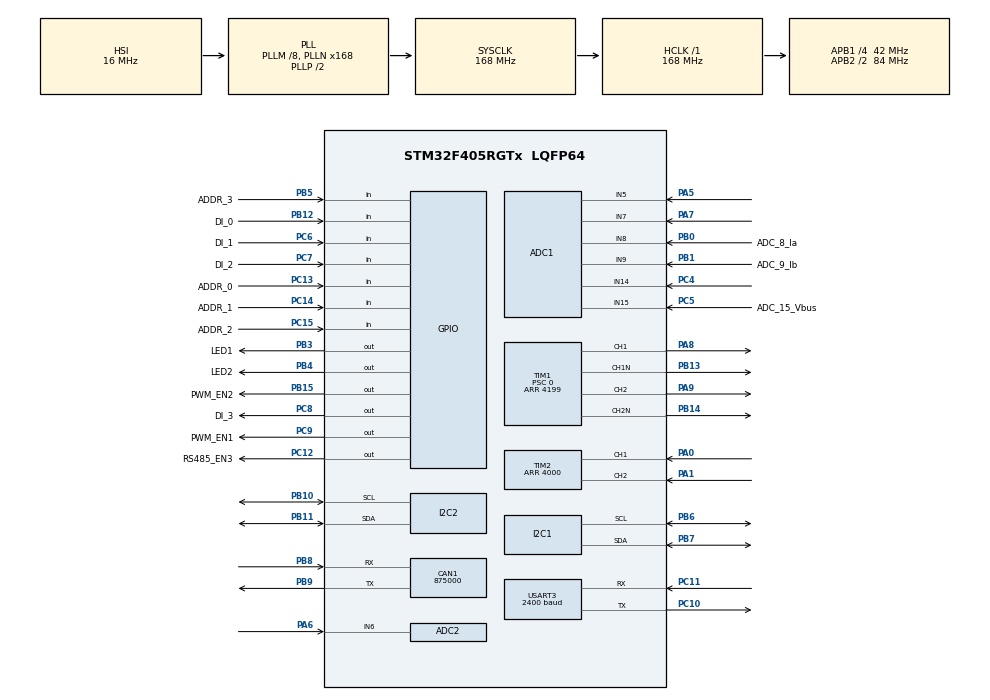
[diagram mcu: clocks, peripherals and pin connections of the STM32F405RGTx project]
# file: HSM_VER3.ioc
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ADC1.Channel-0\#ChannelRegularConversion=ADC_CHANNEL_9
ADC1.Channel-2\#ChannelRegularConversion=ADC_CHANNEL_8
ADC1.ClockPrescaler=ADC_CLOCK_SYNC_PCLK_DIV4
ADC1.ContinuousConvMode=DISABLE
ADC1.EOCSelection=ADC_EOC_SEQ_CONV
ADC1.NbrOfConversion=2
ADC1.NbrOfConversionFlag=1
ADC1.Rank-0\#ChannelRegularConversion=1
ADC1.Rank-2\#ChannelRegularConversion=2
ADC1.SamplingTime-0\#ChannelRegularConversion=ADC_SAMPLETIME_3CYCLES
ADC1.SamplingTime-2\#ChannelRegularConversion=ADC_SAMPLETIME_3CYCLES
ADC1.ScanConvMode=ENABLE
ADC1.master=1
ADC2.Channel-0\#ChannelRegularConversion=ADC_CHANNEL_6
ADC2.ClockPrescaler=ADC_CLOCK_SYNC_PCLK_DIV4
ADC2.NbrOfConversionFlag=1
ADC2.Rank-0\#ChannelRegularConversion=1
ADC2.SamplingTime-0\#ChannelRegularConversion=ADC_SAMPLETIME_3CYCLES
CAN1.CalculateBaudRate=875000
CAN1.CalculateTimeBit=1142
CAN1.CalculateTimeQuantum=380.95238095238096
Dma.ADC1.0.Direction=DMA_PERIPH_TO_MEMORY
Dma.ADC1.0.FIFOMode=DMA_FIFOMODE_DISABLE
Dma.ADC1.0.Instance=DMA2_Stream0
Dma.ADC1.0.MemDataAlignment=DMA_MDATAALIGN_HALFWORD
Dma.ADC1.0.MemInc=DMA_MINC_ENABLE
Dma.ADC1.0.Mode=DMA_NORMAL
Dma.ADC1.0.PeriphDataAlignment=DMA_PDATAALIGN_HALFWORD
Dma.ADC1.0.PeriphInc=DMA_PINC_DISABLE
Dma.ADC1.0.Priority=DMA_PRIORITY_VERY_HIGH
Dma.Request0=ADC1
Mcu.Family=STM32F4
Mcu.Name=STM32F405RGTx
Mcu.Package=LQFP64
NVIC.DMA2_Stream0_IRQn=true\:0\:0\:false\:false\:true\:false\:true\:true
NVIC.PriorityGroup=NVIC_PRIORITYGROUP_4
NVIC.TIM1_UP_TIM10_IRQn=true\:0\:0\:true\:false\:true\:true\:true\:true
PA0-WKUP.Signal=S_TIM2_CH1_ETR
PA1.Signal=S_TIM2_CH2
PA13.Mode=Serial_Wire
PA13.Signal=SYS_JTMS-SWDIO
PA14.Mode=Serial_Wire
PA14.Signal=SYS_JTCK-SWCLK
PA5.Signal=ADCx_IN5
PA6.Signal=ADCx_IN6
PA7.Signal=ADCx_IN7
PA8.Signal=S_TIM1_CH1
PA9.Signal=S_TIM1_CH2
PB0.GPIO_Label=ADC_8_Ia
PB0.Signal=ADCx_IN8
PB1.GPIO_Label=ADC_9_Ib
PB1.Signal=ADCx_IN9
PB10.Mode=I2C
PB10.Signal=I2C2_SCL
PB11.Mode=I2C
PB11.Signal=I2C2_SDA
PB12.GPIO_Label=DI_0
PB12.GPIO_PuPd=GPIO_NOPULL
PB12.Signal=GPIO_Input
PB13.Mode=PWM Generation1 CH1 CH1N
PB13.Signal=TIM1_CH1N
PB14.Mode=PWM Generation2 CH2 CH2N
PB14.Signal=TIM1_CH2N
PB15.GPIO_Label=PWM_EN2
PB15.Signal=GPIO_Output
PB3.GPIO_Label=LED1
PB3.Signal=GPIO_Output
PB4.GPIO_Label=LED2
PB4.Signal=GPIO_Output
PB5.GPIO_Label=ADDR_3
PB5.Signal=GPIO_Input
PB6.Mode=I2C
PB6.Signal=I2C1_SCL
PB7.Mode=I2C
PB7.Signal=I2C1_SDA
PB8.Mode=CAN_Activate
PB8.Signal=CAN1_RX
PB9.Mode=CAN_Activate
PB9.Signal=CAN1_TX
PC10.Mode=Asynchronous
PC10.Signal=USART3_TX
PC11.Mode=Asynchronous
PC11.Signal=USART3_RX
PC12.GPIO_Label=RS485_EN3
PC12.Signal=GPIO_Output
PC13-ANTI_TAMP.GPIO_Label=ADDR_0
PC13-ANTI_TAMP.GPIO_PuPd=GPIO_PULLUP
PC13-ANTI_TAMP.Signal=GPIO_Input
PC14-OSC32_IN.GPIO_Label=ADDR_1
PC14-OSC32_IN.GPIO_PuPd=GPIO_PULLUP
PC14-OSC32_IN.Signal=GPIO_Input
PC15-OSC32_OUT.GPIO_Label=ADDR_2
PC15-OSC32_OUT.Signal=GPIO_Input
PC4.Signal=ADCx_IN14
PC5.GPIO_Label=ADC_15_Vbus
PC5.Signal=ADCx_IN15
PC6.GPIO_Label=DI_1
PC6.GPIO_PuPd=GPIO_NOPULL
PC6.Signal=GPIO_Input
PC7.GPIO_Label=DI_2
PC7.Signal=GPIO_Input
PC8.GPIO_Label=DI_3
PC8.Signal=GPIO_Output
PC9.GPIO_Label=PWM_EN1
PC9.Signal=GPIO_Output
PH0-OSC_IN.Mode=HSE-External-Oscillator
PH0-OSC_IN.Signal=RCC_OSC_IN
PH1-OSC_OUT.Mode=HSE-External-Oscillator
PH1-OSC_OUT.Signal=RCC_OSC_OUT
ProjectManager.HeapSize=0x200
ProjectManager.StackSize=0x400
ProjectManager.TargetToolchain=MDK-ARM V5.32
RCC.48MHZClocksFreq_Value=84000000
RCC.AHBFreq_Value=168000000
RCC.APB1CLKDivider=RCC_HCLK_DIV4
RCC.APB1Freq_Value=42000000
RCC.APB1TimFreq_Value=84000000
RCC.APB2CLKDivider=RCC_HCLK_DIV2
RCC.APB2Freq_Value=84000000
RCC.APB2TimFreq_Value=168000000
RCC.CortexFreq_Value=168000000
RCC.HCLKFreq_Value=168000000
RCC.HSE_VALUE=25000000
RCC.HSI_VALUE=16000000
RCC.LSE_VALUE=32768
RCC.PLLM=8
RCC.PLLN=168
RCC.SYSCLKFreq_VALUE=168000000
RCC.SYSCLKSource=RCC_SYSCLKSOURCE_PLLCLK
RCC.VCOOutputFreq_Value=336000000
SH.ADCx_IN14.0=ADC1_IN14,IN14
SH.ADCx_IN15.0=ADC1_IN15,IN15
SH.ADCx_IN5.0=ADC1_IN5,IN5
SH.ADCx_IN6.0=ADC2_IN6,IN6
SH.ADCx_IN7.0=ADC1_IN7,IN7
SH.ADCx_IN8.0=ADC1_IN8,IN8
SH.ADCx_IN9.0=ADC1_IN9,IN9
SH.S_TIM1_CH1.0=TIM1_CH1,PWM Generation1 CH1 CH1N
SH.S_TIM1_CH2.0=TIM1_CH2,PWM Generation2 CH2 CH2N
SH.S_TIM2_CH1_ETR.0=TIM2_CH1,Encoder_Interface
SH.S_TIM2_CH2.0=TIM2_CH2,Encoder_Interface
TIM1.AutoReloadPreload=TIM_AUTORELOAD_PRELOAD_ENABLE
TIM1.Channel-PWM\ Generation1\ CH1\ CH1N=TIM_CHANNEL_1
TIM1.Channel-PWM\ Generation2\ CH2\ CH2N=TIM_CHANNEL_2
TIM1.CounterMode=TIM_COUNTERMODE_CENTERALIGNED1
TIM1.OCNIdleState_1=TIM_OCNIDLESTATE_SET
TIM1.OCNIdleState_2=TIM_OCNIDLESTATE_SET
TIM1.Period=4199
TIM1.Prescaler=0
TIM1.Pulse-PWM\ Generation1\ CH1\ CH1N=0
TIM1.Pulse-PWM\ Generation2\ CH2\ CH2N=0
TIM1.RepetitionCounter=0
TIM2.EncoderMode=TIM_ENCODERMODE_TI12
TIM2.IC1Filter=10
TIM2.IC2Filter=10
TIM2.Period=4000
TIM3.Prescaler=83 
TIM5.Prescaler=83
USART3.BaudRate=2400
USART3.VirtualMode=VM_ASYNC
VP_TIM1_VS_ClockSourceINT.Mode=Internal
VP_TIM3_VS_ClockSourceINT.Mode=Internal
VP_TIM5_VS_ClockSourceINT.Mode=Internal
board=custom

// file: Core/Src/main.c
/* USER CODE BEGIN Header */
/**
  ******************************************************************************
  * @file           : main.c
  * @brief          : Main program body
  ******************************************************************************
  * @attention
  *
  * Copyright (c) 2023 STMicroelectronics.
  * All rights reserved.
  *
  * This software is licensed under terms that can be found in the LICENSE file
  * in the root directory of this software component.
  * If no LICENSE file comes with this software, it is provided AS-IS.
  *
  ******************************************************************************
  */
/* USER CODE END Header */
#include "main.h"

ADC_HandleTypeDef hadc1;
ADC_HandleTypeDef hadc2;
DMA_HandleTypeDef hdma_adc1;

CAN_HandleTypeDef hcan1;

I2C_HandleTypeDef hi2c1;
I2C_HandleTypeDef hi2c2;

TIM_HandleTypeDef htim1;
TIM_HandleTypeDef htim2;
TIM_HandleTypeDef htim3;
TIM_HandleTypeDef htim5;

UART_HandleTypeDef huart3;

void SystemClock_Config(void);
static void MX_GPIO_Init(void);
static void MX_DMA_Init(void);
static void MX_ADC1_Init(void);
static void MX_ADC2_Init(void);
static void MX_CAN1_Init(void);
static void MX_I2C1_Init(void);
static void MX_I2C2_Init(void);
static void MX_TIM1_Init(void);
static void MX_TIM2_Init(void);
static void MX_USART3_UART_Init(void);
static void MX_TIM3_Init(void);
static void MX_TIM5_Init(void);

/* USER CODE BEGIN 0 */
		/*Initiate Variables*/
		HSM hsm_var; 							// hybrid stepper motor variable
		StateMachine mState_var;		// state of machine

		ENCODER_OBJECT encoder_var, theta_var;
		PI_OBJECT PI_Id_var, PI_Iq_var, PI_speed_var, P_position_var;
		ADC_OBJECT adc_var;

		FLAG flag_var;
		CONTROL_OBJECT control_var;
		SVPWM svpwm_var;
		LPF LPF_speed_var, LPF_current_var, LPF_voltage_var;
		UART uart_var;
		RAMP ramp_rpm_var;

		double ts_rpm = 20e-3;

		/*HAM NGAT TIMER********************************************/
		void HAL_TIM_PeriodElapsedCallback(TIM_HandleTypeDef *htim){
			/* Prevent unused argument(s) compilation warning */
			UNUSED(htim);
			/*USER CODE*/

				if (htim->Instance == htim1.Instance)		// interrupt every 25us
				{
					/*------------------------------------------------------------------------*/
					flag_var.flag_25us_50us++;
					if(flag_var.flag_25us_50us >1)
					{			// every 50us
						flag_var.flag_25us_50us = 0;
						CAL_CURRENT(&adc_var);
						STATE_MACHINE_HANDLE();
					}
					/*------------------------------------------------------------------------*/
					if(mState_var.mSTATE == mRUN && mState_var.mCONTROL_MODE == CLOSE_LOOP_SPD)
					{
						flag_var.flag_25us_20ms++;
						if(flag_var.flag_25us_20ms > 799) // every 20ms
						{
							flag_var.flag_25us_20ms = 0;
							CAL_SPEED(&encoder_var);
							SPEED_LOOP(&control_var, &PI_speed_var, 120);
							//SAVE_DATA(GET_S_DATA);
						}
					}

					flag_var.flag_25us++;
					if(flag_var.flag_25us >= 40){			// every
						flag_var.flag_25us = 0;
						//SAVE_DATA(GET_C_DATA);
						//SAVE_DATA(GET_S_DATA);
					}
				}
		}

/* USER CODE END 0 */

int main(void)
{

  /* MCU Configuration--------------------------------------------------------*/

  /* Reset of all peripherals, Initializes the Flash interface and the Systick. */
  HAL_Init();

  /* Configure the system clock */
  SystemClock_Config();

  /* Initialize all configured peripherals */
  MX_GPIO_Init();
  MX_DMA_Init();
  MX_ADC1_Init();
  MX_ADC2_Init();
  MX_CAN1_Init();
  MX_I2C1_Init();
  MX_I2C2_Init();
  MX_TIM1_Init();
  MX_TIM2_Init();
  MX_USART3_UART_Init();
  MX_TIM3_Init();
  MX_TIM5_Init();
  /* USER CODE BEGIN 2 */
			HAL_GPIO_WritePin(LED1_GPIO_Port, LED1_Pin, GPIO_PIN_SET);		// 	disable led 1
			HAL_GPIO_WritePin(LED2_GPIO_Port, LED2_Pin, GPIO_PIN_SET);		//  disable led 2
			Motor_Disable();
		// BAT CHE DO PHAT XUNG PWM 2 KENH
			HAL_TIM_PWM_Start(&htim1, TIM_CHANNEL_1);
			HAL_TIMEx_PWMN_Start(&htim1, TIM_CHANNEL_1);
			HAL_TIM_PWM_Start(&htim1, TIM_CHANNEL_2);
			HAL_TIMEx_PWMN_Start(&htim1, TIM_CHANNEL_2);
		// START ADC
			HAL_ADC_Start(&hadc1);

		// CONFIG TIMER
			HAL_TIM_Base_Start_IT(&htim1); 			// PWM & control loop
			HAL_TIM_Base_Start_IT(&htim2); 			// Encoder
			HAL_TIM_Base_Start(&htim3); 		 		//	counter timer - delay timer (not used yet)
			HAL_TIM_Base_Start(&htim5); 		 		//	counter timer - delay timer (not used yet)
			HAL_TIM_Encoder_Start(&htim2, TIM_CHANNEL_ALL);			// Encoder on htim 2
		// INIT FUNCTIONS
			MOTOR_Init(&hsm_var);

			FLAG_Init(&flag_var);
			ADC_Init(&adc_var);
			ENCODER_Init(&encoder_var, 1000, 4, ts_rpm);			// use for cal the speed
			ENCODER_Init(&theta_var, 1000, 4, NULL);		// use for count the received pulse, then cal the theta mechanical (rad)

			CONTROLLER_Init(&control_var, 50e-6);			/*CONTROLLER_Init(control var, Ts);*/
			SVPWM_Init(&svpwm_var);

			LPF_Init(&LPF_current_var, 1000, 0.0001);
			LPF_Init(&LPF_speed_var, 10, 0.01);
			LPF_Init(&LPF_voltage_var, 10, 0.01);

			PI_CURRENT_Init(&PI_Id_var, 50e-6);
			PI_CURRENT_Init(&PI_Iq_var, 50e-6);
			PI_SPEED_Init(&PI_speed_var, ts_rpm);

			UART_Init(&uart_var);
			RAMP_Init(&ramp_rpm_var, 5, 5, 0, hsm_var.Speed_max, ts_rpm);

			//STATE_MACHINE_Init(CLOSE_LOOP_I);

			//STATE_MACHINE_Init(OPENLOOP);

			STATE_MACHINE_Init(CLOSE_LOOP_SPD);

  /* USER CODE END 2 */

  /* Infinite loop */
  while (1)
  {

    /* USER CODE BEGIN 3 */
		SEND_DATA();
  }
  /* USER CODE END 3 */
}

void SystemClock_Config(void)
{
  RCC_OscInitTypeDef RCC_OscInitStruct = {0};
  RCC_ClkInitTypeDef RCC_ClkInitStruct = {0};

  /** Configure the main internal regulator output voltage
  */
  __HAL_RCC_PWR_CLK_ENABLE();
  __HAL_PWR_VOLTAGESCALING_CONFIG(PWR_REGULATOR_VOLTAGE_SCALE1);

  /** Initializes the RCC Oscillators according to the specified parameters
  * in the RCC_OscInitTypeDef structure.
  */
  RCC_OscInitStruct.OscillatorType = RCC_OSCILLATORTYPE_HSI;
  RCC_OscInitStruct.HSIState = RCC_HSI_ON;
  RCC_OscInitStruct.HSICalibrationValue = RCC_HSICALIBRATION_DEFAULT;
  RCC_OscInitStruct.PLL.PLLState = RCC_PLL_ON;
  RCC_OscInitStruct.PLL.PLLSource = RCC_PLLSOURCE_HSI;
  RCC_OscInitStruct.PLL.PLLM = 8;
  RCC_OscInitStruct.PLL.PLLN = 168;
  RCC_OscInitStruct.PLL.PLLP = RCC_PLLP_DIV2;
  RCC_OscInitStruct.PLL.PLLQ = 4;
  if (HAL_RCC_OscConfig(&RCC_OscInitStruct) != HAL_OK)
  {
    Error_Handler();
  }

  /** Initializes the CPU, AHB and APB buses clocks
  */
  RCC_ClkInitStruct.ClockType = RCC_CLOCKTYPE_HCLK|RCC_CLOCKTYPE_SYSCLK
                              |RCC_CLOCKTYPE_PCLK1|RCC_CLOCKTYPE_PCLK2;
  RCC_ClkInitStruct.SYSCLKSource = RCC_SYSCLKSOURCE_PLLCLK;
  RCC_ClkInitStruct.AHBCLKDivider = RCC_SYSCLK_DIV1;
  RCC_ClkInitStruct.APB1CLKDivider = RCC_HCLK_DIV4;
  RCC_ClkInitStruct.APB2CLKDivider = RCC_HCLK_DIV2;

  if (HAL_RCC_ClockConfig(&RCC_ClkInitStruct, FLASH_LATENCY_5) != HAL_OK)
  {
    Error_Handler();
  }
}

static void MX_ADC1_Init(void)
{

  ADC_ChannelConfTypeDef sConfig = {0};

  /** Configure the global features of the ADC (Clock, Resolution, Data Alignment and number of conversion)
  */
  hadc1.Instance = ADC1;
  hadc1.Init.ClockPrescaler = ADC_CLOCK_SYNC_PCLK_DIV4;
  hadc1.Init.Resolution = ADC_RESOLUTION_12B;
  hadc1.Init.ScanConvMode = ENABLE;
  hadc1.Init.ContinuousConvMode = DISABLE;
  hadc1.Init.DiscontinuousConvMode = DISABLE;
  hadc1.Init.ExternalTrigConvEdge = ADC_EXTERNALTRIGCONVEDGE_NONE;
  hadc1.Init.ExternalTrigConv = ADC_SOFTWARE_START;
  hadc1.Init.DataAlign = ADC_DATAALIGN_RIGHT;
  hadc1.Init.NbrOfConversion = 2;
  hadc1.Init.DMAContinuousRequests = DISABLE;
  hadc1.Init.EOCSelection = ADC_EOC_SEQ_CONV;
  if (HAL_ADC_Init(&hadc1) != HAL_OK)
  {
    Error_Handler();
  }

  /** Configure for the selected ADC regular channel its corresponding rank in the sequencer and its sample time.
  */
  sConfig.Channel = ADC_CHANNEL_9;
  sConfig.Rank = 1;
  sConfig.SamplingTime = ADC_SAMPLETIME_3CYCLES;
  if (HAL_ADC_ConfigChannel(&hadc1, &sConfig) != HAL_OK)
  {
    Error_Handler();
  }

  /** Configure for the selected ADC regular channel its corresponding rank in the sequencer and its sample time.
  */
  sConfig.Channel = ADC_CHANNEL_8;
  sConfig.Rank = 2;
  if (HAL_ADC_ConfigChannel(&hadc1, &sConfig) != HAL_OK)
  {
    Error_Handler();
  }

}

static void MX_ADC2_Init(void)
{

  ADC_ChannelConfTypeDef sConfig = {0};

  /** Configure the global features of the ADC (Clock, Resolution, Data Alignment and number of conversion)
  */
  hadc2.Instance = ADC2;
  hadc2.Init.ClockPrescaler = ADC_CLOCK_SYNC_PCLK_DIV4;
  hadc2.Init.Resolution = ADC_RESOLUTION_12B;
  hadc2.Init.ScanConvMode = DISABLE;
  hadc2.Init.ContinuousConvMode = DISABLE;
  hadc2.Init.DiscontinuousConvMode = DISABLE;
  hadc2.Init.ExternalTrigConvEdge = ADC_EXTERNALTRIGCONVEDGE_NONE;
  hadc2.Init.ExternalTrigConv = ADC_SOFTWARE_START;
  hadc2.Init.DataAlign = ADC_DATAALIGN_RIGHT;
  hadc2.Init.NbrOfConversion = 1;
  hadc2.Init.DMAContinuousRequests = DISABLE;
  hadc2.Init.EOCSelection = ADC_EOC_SINGLE_CONV;
  if (HAL_ADC_Init(&hadc2) != HAL_OK)
  {
    Error_Handler();
  }

  /** Configure for the selected ADC regular channel its corresponding rank in the sequencer and its sample time.
  */
  sConfig.Channel = ADC_CHANNEL_6;
  sConfig.Rank = 1;
  sConfig.SamplingTime = ADC_SAMPLETIME_3CYCLES;
  if (HAL_ADC_ConfigChannel(&hadc2, &sConfig) != HAL_OK)
  {
    Error_Handler();
  }

}

static void MX_CAN1_Init(void)
{

  hcan1.Instance = CAN1;
  hcan1.Init.Prescaler = 16;
  hcan1.Init.Mode = CAN_MODE_NORMAL;
  hcan1.Init.SyncJumpWidth = CAN_SJW_1TQ;
  hcan1.Init.TimeSeg1 = CAN_BS1_1TQ;
  hcan1.Init.TimeSeg2 = CAN_BS2_1TQ;
  hcan1.Init.TimeTriggeredMode = DISABLE;
  hcan1.Init.AutoBusOff = DISABLE;
  hcan1.Init.AutoWakeUp = DISABLE;
  hcan1.Init.AutoRetransmission = DISABLE;
  hcan1.Init.ReceiveFifoLocked = DISABLE;
  hcan1.Init.TransmitFifoPriority = DISABLE;
  if (HAL_CAN_Init(&hcan1) != HAL_OK)
  {
    Error_Handler();
  }

}

static void MX_I2C1_Init(void)
{

  hi2c1.Instance = I2C1;
  hi2c1.Init.ClockSpeed = 100000;
  hi2c1.Init.DutyCycle = I2C_DUTYCYCLE_2;
  hi2c1.Init.OwnAddress1 = 0;
  hi2c1.Init.AddressingMode = I2C_ADDRESSINGMODE_7BIT;
  hi2c1.Init.DualAddressMode = I2C_DUALADDRESS_DISABLE;
  hi2c1.Init.OwnAddress2 = 0;
  hi2c1.Init.GeneralCallMode = I2C_GENERALCALL_DISABLE;
  hi2c1.Init.NoStretchMode = I2C_NOSTRETCH_DISABLE;
  if (HAL_I2C_Init(&hi2c1) != HAL_OK)
  {
    Error_Handler();
  }

}

static void MX_I2C2_Init(void)
{

  hi2c2.Instance = I2C2;
  hi2c2.Init.ClockSpeed = 100000;
  hi2c2.Init.DutyCycle = I2C_DUTYCYCLE_2;
  hi2c2.Init.OwnAddress1 = 0;
  hi2c2.Init.AddressingMode = I2C_ADDRESSINGMODE_7BIT;
  hi2c2.Init.DualAddressMode = I2C_DUALADDRESS_DISABLE;
  hi2c2.Init.OwnAddress2 = 0;
  hi2c2.Init.GeneralCallMode = I2C_GENERALCALL_DISABLE;
  hi2c2.Init.NoStretchMode = I2C_NOSTRETCH_DISABLE;
  if (HAL_I2C_Init(&hi2c2) != HAL_OK)
  {
    Error_Handler();
  }

}

static void MX_TIM1_Init(void)
{

  TIM_ClockConfigTypeDef sClockSourceConfig = {0};
  TIM_MasterConfigTypeDef sMasterConfig = {0};
  TIM_OC_InitTypeDef sConfigOC = {0};
  TIM_BreakDeadTimeConfigTypeDef sBreakDeadTimeConfig = {0};

  htim1.Instance = TIM1;
  htim1.Init.Prescaler = 0;
  htim1.Init.CounterMode = TIM_COUNTERMODE_CENTERALIGNED1;
  htim1.Init.Period = 4199;
  htim1.Init.ClockDivision = TIM_CLOCKDIVISION_DIV1;
  htim1.Init.RepetitionCounter = 0;
  htim1.Init.AutoReloadPreload = TIM_AUTORELOAD_PRELOAD_ENABLE;
  if (HAL_TIM_Base_Init(&htim1) != HAL_OK)
  {
    Error_Handler();
  }
  sClockSourceConfig.ClockSource = TIM_CLOCKSOURCE_INTERNAL;
  if (HAL_TIM_ConfigClockSource(&htim1, &sClockSourceConfig) != HAL_OK)
  {
    Error_Handler();
  }
  if (HAL_TIM_PWM_Init(&htim1) != HAL_OK)
  {
    Error_Handler();
  }
  sMasterConfig.MasterOutputTrigger = TIM_TRGO_RESET;
  sMasterConfig.MasterSlaveMode = TIM_MASTERSLAVEMODE_DISABLE;
  if (HAL_TIMEx_MasterConfigSynchronization(&htim1, &sMasterConfig) != HAL_OK)
  {
    Error_Handler();
  }
  sConfigOC.OCMode = TIM_OCMODE_PWM1;
  sConfigOC.Pulse = 0;
  sConfigOC.OCPolarity = TIM_OCPOLARITY_HIGH;
  sConfigOC.OCNPolarity = TIM_OCNPOLARITY_HIGH;
  sConfigOC.OCFastMode = TIM_OCFAST_DISABLE;
  sConfigOC.OCIdleState = TIM_OCIDLESTATE_RESET;
  sConfigOC.OCNIdleState = TIM_OCNIDLESTATE_SET;
  if (HAL_TIM_PWM_ConfigChannel(&htim1, &sConfigOC, TIM_CHANNEL_1) != HAL_OK)
  {
    Error_Handler();
  }
  if (HAL_TIM_PWM_ConfigChannel(&htim1, &sConfigOC, TIM_CHANNEL_2) != HAL_OK)
  {
    Error_Handler();
  }
  sBreakDeadTimeConfig.OffStateRunMode = TIM_OSSR_DISABLE;
  sBreakDeadTimeConfig.OffStateIDLEMode = TIM_OSSI_DISABLE;
  sBreakDeadTimeConfig.LockLevel = TIM_LOCKLEVEL_OFF;
  sBreakDeadTimeConfig.DeadTime = 0;
  sBreakDeadTimeConfig.BreakState = TIM_BREAK_DISABLE;
  sBreakDeadTimeConfig.BreakPolarity = TIM_BREAKPOLARITY_HIGH;
  sBreakDeadTimeConfig.AutomaticOutput = TIM_AUTOMATICOUTPUT_DISABLE;
  if (HAL_TIMEx_ConfigBreakDeadTime(&htim1, &sBreakDeadTimeConfig) != HAL_OK)
  {
    Error_Handler();
  }
  HAL_TIM_MspPostInit(&htim1);

}

static void MX_TIM2_Init(void)
{

  TIM_Encoder_InitTypeDef sConfig = {0};
  TIM_MasterConfigTypeDef sMasterConfig = {0};

  htim2.Instance = TIM2;
  htim2.Init.Prescaler = 0;
  htim2.Init.CounterMode = TIM_COUNTERMODE_UP;
  htim2.Init.Period = 4000;
  htim2.Init.ClockDivision = TIM_CLOCKDIVISION_DIV1;
  htim2.Init.AutoReloadPreload = TIM_AUTORELOAD_PRELOAD_DISABLE;
  sConfig.EncoderMode = TIM_ENCODERMODE_TI12;
  sConfig.IC1Polarity = TIM_ICPOLARITY_RISING;
  sConfig.IC1Selection = TIM_ICSELECTION_DIRECTTI;
  sConfig.IC1Prescaler = TIM_ICPSC_DIV1;
  sConfig.IC1Filter = 10;
  sConfig.IC2Polarity = TIM_ICPOLARITY_RISING;
  sConfig.IC2Selection = TIM_ICSELECTION_DIRECTTI;
  sConfig.IC2Prescaler = TIM_ICPSC_DIV1;
  sConfig.IC2Filter = 10;
  if (HAL_TIM_Encoder_Init(&htim2, &sConfig) != HAL_OK)
  {
    Error_Handler();
  }
  sMasterConfig.MasterOutputTrigger = TIM_TRGO_RESET;
  sMasterConfig.MasterSlaveMode = TIM_MASTERSLAVEMODE_DISABLE;
  if (HAL_TIMEx_MasterConfigSynchronization(&htim2, &sMasterConfig) != HAL_OK)
  {
    Error_Handler();
  }

}

static void MX_TIM3_Init(void)
{

  TIM_ClockConfigTypeDef sClockSourceConfig = {0};
  TIM_MasterConfigTypeDef sMasterConfig = {0};

  htim3.Instance = TIM3;
  htim3.Init.Prescaler = 83 ;
  htim3.Init.CounterMode = TIM_COUNTERMODE_UP;
  htim3.Init.Period = 65535;
  htim3.Init.ClockDivision = TIM_CLOCKDIVISION_DIV1;
  htim3.Init.AutoReloadPreload = TIM_AUTORELOAD_PRELOAD_DISABLE;
  if (HAL_TIM_Base_Init(&htim3) != HAL_OK)
  {
    Error_Handler();
  }
  sClockSourceConfig.ClockSource = TIM_CLOCKSOURCE_INTERNAL;
  if (HAL_TIM_ConfigClockSource(&htim3, &sClockSourceConfig) != HAL_OK)
  {
    Error_Handler();
  }
  sMasterConfig.MasterOutputTrigger = TIM_TRGO_RESET;
  sMasterConfig.MasterSlaveMode = TIM_MASTERSLAVEMODE_DISABLE;
  if (HAL_TIMEx_MasterConfigSynchronization(&htim3, &sMasterConfig) != HAL_OK)
  {
    Error_Handler();
  }

}

static void MX_TIM5_Init(void)
{

  TIM_ClockConfigTypeDef sClockSourceConfig = {0};
  TIM_MasterConfigTypeDef sMasterConfig = {0};

  htim5.Instance = TIM5;
  htim5.Init.Prescaler = 83;
  htim5.Init.CounterMode = TIM_COUNTERMODE_UP;
  htim5.Init.Period = 4294967295;
  htim5.Init.ClockDivision = TIM_CLOCKDIVISION_DIV1;
  htim5.Init.AutoReloadPreload = TIM_AUTORELOAD_PRELOAD_DISABLE;
  if (HAL_TIM_Base_Init(&htim5) != HAL_OK)
  {
    Error_Handler();
  }
  sClockSourceConfig.ClockSource = TIM_CLOCKSOURCE_INTERNAL;
  if (HAL_TIM_ConfigClockSource(&htim5, &sClockSourceConfig) != HAL_OK)
  {
    Error_Handler();
  }
  sMasterConfig.MasterOutputTrigger = TIM_TRGO_RESET;
  sMasterConfig.MasterSlaveMode = TIM_MASTERSLAVEMODE_DISABLE;
  if (HAL_TIMEx_MasterConfigSynchronization(&htim5, &sMasterConfig) != HAL_OK)
  {
    Error_Handler();
  }

}

static void MX_USART3_UART_Init(void)
{

  huart3.Instance = USART3;
  huart3.Init.BaudRate = 2400;
  huart3.Init.WordLength = UART_WORDLENGTH_8B;
  huart3.Init.StopBits = UART_STOPBITS_1;
  huart3.Init.Parity = UART_PARITY_NONE;
  huart3.Init.Mode = UART_MODE_TX_RX;
  huart3.Init.HwFlowCtl = UART_HWCONTROL_NONE;
  huart3.Init.OverSampling = UART_OVERSAMPLING_16;
  if (HAL_UART_Init(&huart3) != HAL_OK)
  {
    Error_Handler();
  }

}

static void MX_DMA_Init(void)
{

  /* DMA controller clock enable */
  __HAL_RCC_DMA2_CLK_ENABLE();

  /* DMA interrupt init */
  /* DMA2_Stream0_IRQn interrupt configuration */
  HAL_NVIC_SetPriority(DMA2_Stream0_IRQn, 0, 0);
  HAL_NVIC_EnableIRQ(DMA2_Stream0_IRQn);

}

static void MX_GPIO_Init(void)
{
  GPIO_InitTypeDef GPIO_InitStruct = {0};

  /* GPIO Ports Clock Enable */
  __HAL_RCC_GPIOC_CLK_ENABLE();
  __HAL_RCC_GPIOH_CLK_ENABLE();
  __HAL_RCC_GPIOA_CLK_ENABLE();
  __HAL_RCC_GPIOB_CLK_ENABLE();

  /*Configure GPIO pin Output Level */
  HAL_GPIO_WritePin(GPIOB, PWM_EN2_Pin|LED1_Pin|LED2_Pin, GPIO_PIN_RESET);

  /*Configure GPIO pin Output Level */
  HAL_GPIO_WritePin(GPIOC, DI_3_Pin|PWM_EN1_Pin|RS485_EN3_Pin, GPIO_PIN_RESET);

  /*Configure GPIO pins : ADDR_0_Pin ADDR_1_Pin */
  GPIO_InitStruct.Pin = ADDR_0_Pin|ADDR_1_Pin;
  GPIO_InitStruct.Mode = GPIO_MODE_INPUT;
  GPIO_InitStruct.Pull = GPIO_PULLUP;
  HAL_GPIO_Init(GPIOC, &GPIO_InitStruct);

  /*Configure GPIO pins : ADDR_2_Pin DI_1_Pin DI_2_Pin */
  GPIO_InitStruct.Pin = ADDR_2_Pin|DI_1_Pin|DI_2_Pin;
  GPIO_InitStruct.Mode = GPIO_MODE_INPUT;
  GPIO_InitStruct.Pull = GPIO_NOPULL;
  HAL_GPIO_Init(GPIOC, &GPIO_InitStruct);

  /*Configure GPIO pins : DI_0_Pin ADDR_3_Pin */
  GPIO_InitStruct.Pin = DI_0_Pin|ADDR_3_Pin;
  GPIO_InitStruct.Mode = GPIO_MODE_INPUT;
  GPIO_InitStruct.Pull = GPIO_NOPULL;
  HAL_GPIO_Init(GPIOB, &GPIO_InitStruct);

  /*Configure GPIO pins : PWM_EN2_Pin LED1_Pin LED2_Pin */
  GPIO_InitStruct.Pin = PWM_EN2_Pin|LED1_Pin|LED2_Pin;
  GPIO_InitStruct.Mode = GPIO_MODE_OUTPUT_PP;
  GPIO_InitStruct.Pull = GPIO_NOPULL;
  GPIO_InitStruct.Speed = GPIO_SPEED_FREQ_LOW;
  HAL_GPIO_Init(GPIOB, &GPIO_InitStruct);

  /*Configure GPIO pins : DI_3_Pin PWM_EN1_Pin RS485_EN3_Pin */
  GPIO_InitStruct.Pin = DI_3_Pin|PWM_EN1_Pin|RS485_EN3_Pin;
  GPIO_InitStruct.Mode = GPIO_MODE_OUTPUT_PP;
  GPIO_InitStruct.Pull = GPIO_NOPULL;
  GPIO_InitStruct.Speed = GPIO_SPEED_FREQ_LOW;
  HAL_GPIO_Init(GPIOC, &GPIO_InitStruct);

}

void Error_Handler(void)
{
  __disable_irq();
  while (1)
  {
  }
}
